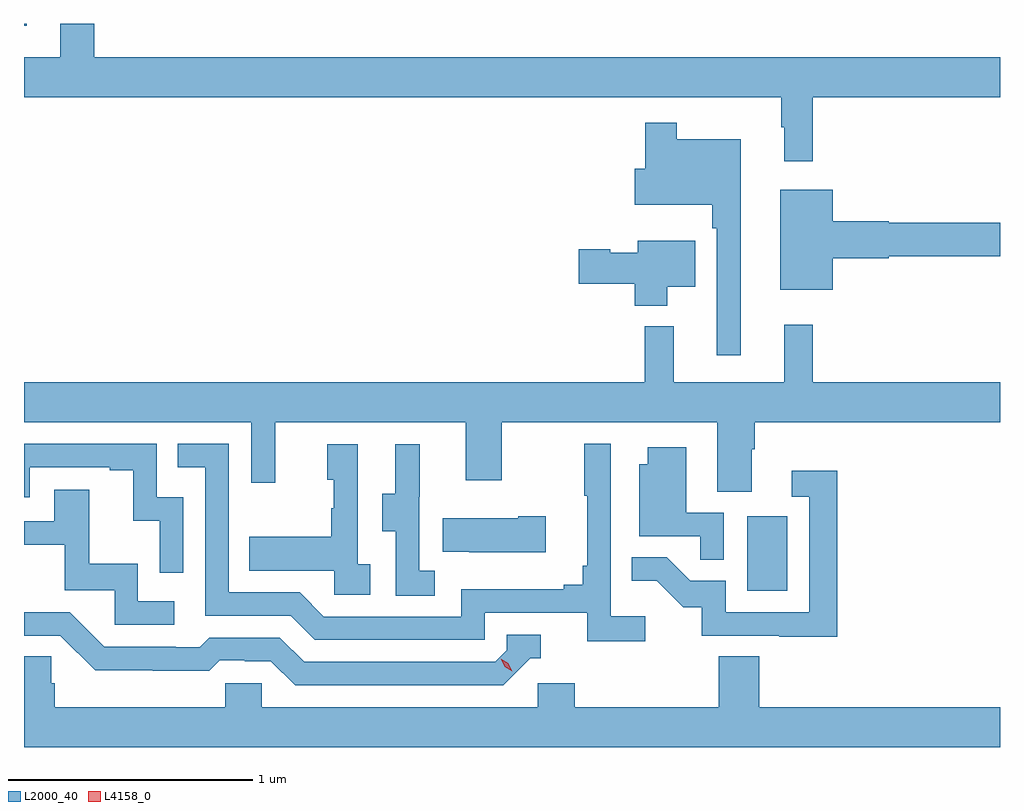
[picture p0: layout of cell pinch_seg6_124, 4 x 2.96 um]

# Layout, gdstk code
import gdstk
lib = gdstk.Library(unit=1e-6, precision=1e-09)
def R(c, l, rs):  # rectangles x0, y0, x1, y1
    for r in rs: c.add(gdstk.rectangle(r[:2], r[2:], *l))
def P(c, l, *ps):  # polygons
    for p in ps: c.add(gdstk.Polygon(p, *l))
L2000_40 = (2000, 40)
L4158_0 = (4158, 0)

pinch_seg6_124 = lib.new_cell('pinch_seg6_124')
R(pinch_seg6_124, L2000_40, [(962.564,927.996,962.728,928.303), (959.599,930.312,959.611,930.32)])
P(pinch_seg6_124, L2000_40, [(962.831,930.02),(963.599,930.02),(963.599,930.184),(959.887,930.184),(959.887,930.32),(959.747,930.32),(959.747,930.184),(959.599,930.184),(959.599,930.02),(962.703,930.02),(962.703,929.897),(962.714,929.897),(962.714,929.757),(962.831,929.757)],
  [(962.536,929.848),(962.275,929.848),(962.275,929.914),(962.146,929.914),(962.146,929.727),(962.102,929.727),(962.102,929.579),(962.419,929.579),(962.419,929.483),(962.439,929.483),(962.439,928.962),(962.536,928.962)],
  [(962.914,929.36),(963.144,929.36),(963.144,929.368),(963.599,929.368),(963.599,929.504),(963.144,929.504),(963.144,929.512),(962.914,929.512),(962.914,929.641),(962.699,929.641),(962.699,929.231),(962.914,929.231)],
  [(962.236,929.243),(962.35,929.243),(962.35,929.431),(962.114,929.431),(962.114,929.383),(962.001,929.383),(962.001,929.396),(961.872,929.396),(961.872,929.254),(962.102,929.254),(962.102,929.165),(962.236,929.165)],
  [(962.581,928.576),(962.594,928.576),(962.594,928.688),(963.599,928.688),(963.599,928.852),(962.831,928.852),(962.831,929.086),(962.714,929.086),(962.714,928.852),(962.261,928.852),(962.261,929.08),(962.143,929.08),(962.143,928.852),(959.599,928.852),(959.599,928.688),(960.531,928.688),(960.531,928.44),(960.629,928.44),(960.629,928.688),(961.409,928.688),(961.409,928.449),(961.557,928.449),(961.557,928.688),(962.441,928.688),(962.441,928.402),(962.581,928.402)],
  [(962.146,927.892),(962.004,927.892),(962.004,928.6),(961.896,928.6),(961.896,928.387),(961.907,928.387),(961.907,928.099),(961.888,928.099),(961.888,928.022),(961.811,928.022),(961.811,928.003),(961.392,928.003),(961.392,927.891),(960.828,927.891),(960.729,927.99),(960.438,927.99),(960.438,928.599),(960.229,928.599),(960.229,928.503),(960.342,928.503),(960.342,927.894),(960.692,927.894),(960.791,927.795),(961.488,927.795),(961.488,927.906),(961.907,927.906),(961.907,927.79),(962.146,927.79)],
  [(960.252,928.38),(960.144,928.38),(960.144,928.599),(959.599,928.599),(959.599,928.38),(959.622,928.38),(959.622,928.503),(959.951,928.503),(959.951,928.491),(960.047,928.491),(960.047,928.283),(960.156,928.283),(960.156,928.071),(960.252,928.071)],
  [(961.282,928.079),(961.218,928.079),(961.218,928.383),(961.22,928.383),(961.22,928.597),(961.121,928.597),(961.121,928.395),(961.067,928.395),(961.067,928.24),(961.122,928.24),(961.122,927.976),(961.282,927.976)],
  [(961.018,928.106),(960.966,928.106),(960.966,928.597),(960.842,928.597),(960.842,928.452),(960.868,928.452),(960.868,928.334),(960.858,928.334),(960.858,928.219),(960.523,928.219),(960.523,928.079),(960.87,928.079),(960.87,927.981),(961.018,927.981)],
  [(962.466,928.317),(962.314,928.317),(962.314,928.585),(962.156,928.585),(962.156,928.516),(962.12,928.516),(962.12,928.221),(962.371,928.221),(962.371,928.123),(962.466,928.123)],
  [(962.933,928.489),(962.745,928.489),(962.745,928.383),(962.817,928.383),(962.817,927.909),(962.475,927.909),(962.475,928.038),(962.33,928.038),(962.233,928.135),(962.089,928.135),(962.089,928.037),(962.193,928.037),(962.3,927.93),(962.377,927.93),(962.377,927.813),(962.695,927.813),(962.695,927.808),(962.933,927.808)],
  [(960.214,927.954),(960.066,927.954),(960.066,928.108),(959.867,928.108),(959.867,928.411),(959.723,928.411),(959.723,928.281),(959.599,928.281),(959.599,928.185),(959.765,928.185),(959.765,927.999),(959.97,927.999),(959.97,927.858),(960.214,927.858)],
  [(961.738,928.302),(961.625,928.302),(961.625,928.294),(961.315,928.294),(961.315,928.157),(961.423,928.157),(961.423,928.154),(961.738,928.154)],
  [(961.674,927.72),(961.717,927.72),(961.717,927.816),(961.578,927.816),(961.578,927.753),(961.53,927.705),(960.747,927.705),(960.648,927.804),(960.359,927.804),(960.32,927.765),(960.221,927.765),(960.221,927.768),(959.928,927.768),(959.787,927.909),(959.599,927.909),(959.599,927.813),(959.748,927.813),(959.89,927.671),(960.126,927.671),(960.126,927.669),(960.359,927.669),(960.401,927.711),(960.504,927.711),(960.504,927.708),(960.611,927.708),(960.71,927.609),(961.563,927.609)],
  [(963.599,927.52),(962.612,927.52),(962.612,927.728),(962.447,927.728),(962.447,927.52),(961.856,927.52),(961.856,927.618),(961.704,927.618),(961.704,927.52),(960.573,927.52),(960.573,927.618),(960.423,927.618),(960.423,927.52),(959.726,927.52),(959.726,927.618),(959.711,927.618),(959.711,927.728),(959.599,927.728),(959.599,927.356),(963.599,927.356)])
P(pinch_seg6_124, L4158_0, [(961.601,927.667),(961.57,927.686),(961.553,927.718),(961.553,927.718),(961.553,927.718),(961.584,927.699),(961.601,927.667),(961.601,927.667)])

lib.write_gds('pinch_seg6_124.gds')
